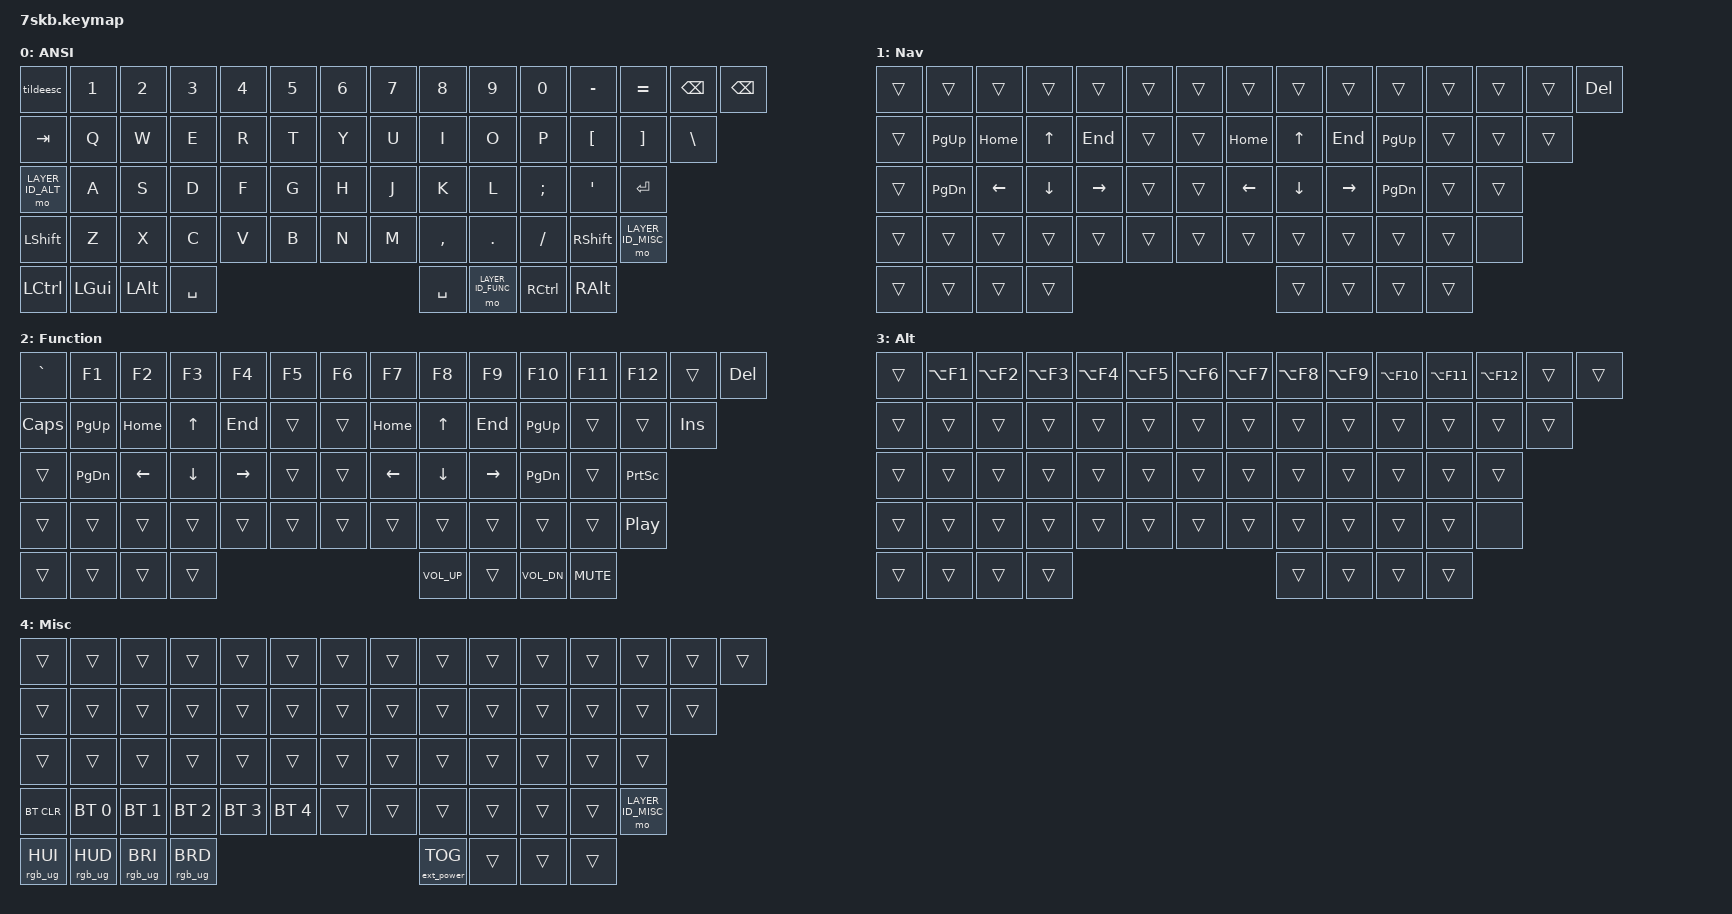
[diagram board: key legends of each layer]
/*
 * Copyright (c) 2021 The ZMK Contributors
 *
 * SPDX-License-Identifier: MIT
 */

#include <behaviors.dtsi>
#include <dt-bindings/zmk/keys.h>
#include <dt-bindings/zmk/bt.h>
#include <dt-bindings/zmk/rgb.h>
#include <dt-bindings/zmk/ext_power.h>

#define TIMEOUT_COMBO 250

#define LAYER_ID_DEFAULT 0
#define LAYER_ID_NAV 1
#define LAYER_ID_FUNC 2
#define LAYER_ID_ALT 3
#define LAYER_ID_MISC 4

/ {
    behaviors {
        tildeesc: tilde_escape {
            compatible = "zmk,behavior-mod-morph";
            label = "TILDE_ESCAPE";
            #binding-cells = <0>;
            bindings = <&kp ESC>, <&kp TILDE>;
            mods = <(MOD_LSFT)>;
        };
    };

    combos {
        compatible = "zmk,combos";
        combo_layer_navigation_left { 
            timeout-ms = <TIMEOUT_COMBO>;
            key-positions = <31 18 33>; 
            bindings = <&tog LAYER_ID_NAV>; 
            layers = <LAYER_ID_NAV LAYER_ID_FUNC>;
        };
        combo_layer_navigation_right { 
            timeout-ms = <TIMEOUT_COMBO>;
            key-positions = <36 23 38>; 
            bindings = <&tog LAYER_ID_NAV>;
            layers = <LAYER_ID_NAV LAYER_ID_FUNC>;
        };
        combo_shift_lock_left { 
            timeout-ms = <TIMEOUT_COMBO>;
            key-positions = <18 32>; 
            bindings = <&kt LSHFT>; 
            layers = <LAYER_ID_NAV LAYER_ID_FUNC>;
        };
        combo_shift_lock_right { 
            timeout-ms = <TIMEOUT_COMBO>;
            key-positions = <23 37>; 
            bindings = <&kt RSHFT>; 
            layers = <LAYER_ID_NAV LAYER_ID_FUNC>;
        };
    };

    keymap {
        compatible = "zmk,keymap";

        default_layer {
            label = "ANSI";
            bindings = <
&tildeesc        &kp N1 &kp N2 &kp N3 &kp N4 &kp N5     &kp N6 &kp N7 &kp N8    &kp N9  &kp N0    &kp MINUS &kp EQUAL &kp BSPC &kp BSPC
&kp TAB          &kp Q  &kp W  &kp E  &kp R  &kp T      &kp Y  &kp U  &kp I     &kp O   &kp P     &kp LBKT  &kp RBKT  &kp BSLH
&mo LAYER_ID_ALT &kp A  &kp S  &kp D  &kp F  &kp G      &kp H  &kp J  &kp K     &kp L   &kp SEMI  &kp SQT   &kp ENTER
&kp LSHFT        &kp Z  &kp X  &kp C  &kp V  &kp B      &kp N  &kp M  &kp COMMA &kp DOT &kp SLASH &kp RSHFT &mo LAYER_ID_MISC
    &kp LCTRL &kp LGUI &kp LALT &kp SPACE                   &kp SPACE &mo LAYER_ID_FUNC &kp RCTRL &kp RALT
            >;
        };

        nav_layer {
            label = "Nav";
            
            bindings = <
&trans     &trans       &trans       &trans       &trans       &trans     &trans &trans   &trans   &trans    &trans     &trans  &trans  &trans &kp DEL
&trans     &kp PG_UP    &kp HOME     &kp UP       &kp END      &trans     &trans &kp HOME &kp UP   &kp END   &kp PG_UP  &trans  &trans  &trans
&trans     &kp PG_DN    &kp LEFT     &kp DOWN     &kp RIGHT    &trans     &trans &kp LEFT &kp DOWN &kp RIGHT &kp PG_DN  &trans  &trans
&trans     &trans       &trans       &trans       &trans       &trans     &trans &trans   &trans   &trans    &trans     &trans  &none
    &trans &trans &trans &trans                                                    &trans &trans &trans &trans
            >;
        };

        function_layer {
            label = "Function";
            
            bindings = <
&kp GRAVE  &kp F1       &kp F2       &kp F3       &kp F4       &kp F5     &kp F6 &kp F7   &kp F8   &kp F9    &kp F10    &kp F11 &kp F12 &trans &kp DEL
&kp CAPS   &kp PG_UP    &kp HOME     &kp UP       &kp END      &trans     &trans &kp HOME &kp UP   &kp END   &kp PG_UP  &trans  &trans  &kp INS
&trans     &kp PG_DN    &kp LEFT     &kp DOWN     &kp RIGHT    &trans     &trans &kp LEFT &kp DOWN &kp RIGHT &kp PG_DN  &trans  &kp PSCRN
&trans     &trans       &trans       &trans       &trans       &trans     &trans &trans   &trans   &trans    &trans     &trans  &kp C_PLAY_PAUSE
    &trans &trans &trans &trans                                                    &kp C_VOL_UP &trans &kp C_VOL_DN &kp C_MUTE
            >;
        };

        alt_layer {
            label = "Alt";
            
            bindings = <
&trans &kp LA(F1) &kp LA(F2) &kp LA(F3) &kp LA(F4) &kp LA(F5)    &kp LA(F6) &kp LA(F7) &kp LA(F8) &kp LA(F9) &kp LA(F10) &kp LA(F11) &kp LA(F12) &trans &trans
&trans &trans     &trans     &trans     &trans     &trans        &trans     &trans     &trans     &trans     &trans      &trans      &trans      &trans
&trans &trans     &trans     &trans     &trans     &trans        &trans     &trans     &trans     &trans     &trans      &trans      &trans
&trans &trans     &trans     &trans     &trans     &trans        &trans     &trans     &trans     &trans     &trans      &trans      &none
    &trans &trans &trans &trans                                      &trans &trans &trans &trans
            >;
        };
        
        misc_layer {
            label = "Misc";
            
            bindings = <
&trans     &trans       &trans       &trans       &trans       &trans        &trans     &trans     &trans     &trans     &trans      &trans      &trans      &trans &trans
&trans     &trans       &trans       &trans       &trans       &trans        &trans     &trans     &trans     &trans     &trans      &trans      &trans      &trans
&trans     &trans       &trans       &trans       &trans       &trans        &trans     &trans     &trans     &trans     &trans      &trans      &trans
&bt BT_CLR &bt BT_SEL 0 &bt BT_SEL 1 &bt BT_SEL 2 &bt BT_SEL 3 &bt BT_SEL 4  &trans     &trans     &trans     &trans     &trans      &trans      &mo LAYER_ID_MISC
    &rgb_ug RGB_HUI &rgb_ug RGB_HUD &rgb_ug RGB_BRI &rgb_ug RGB_BRD              &ext_power EP_TOG &trans &trans &trans
            >;
        };
    };
};
